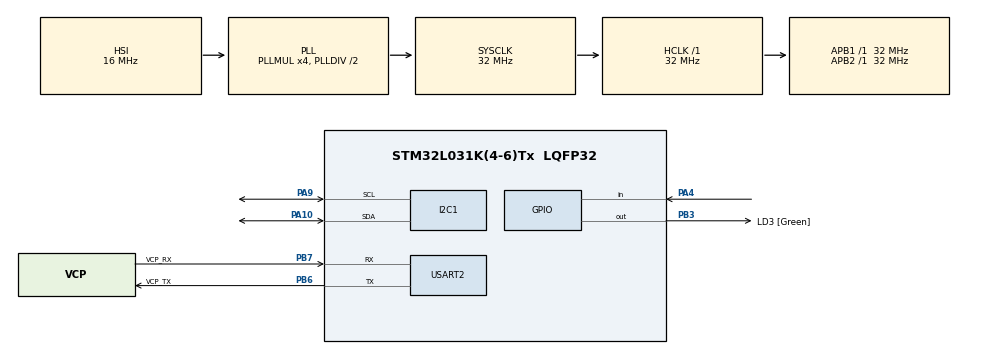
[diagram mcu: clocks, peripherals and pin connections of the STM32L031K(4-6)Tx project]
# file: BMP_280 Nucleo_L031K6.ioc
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I2C1.Timing=0x00707CBB
Mcu.Family=STM32L0
Mcu.Name=STM32L031K(4-6)Tx
Mcu.Package=LQFP32
PA10.Mode=I2C
PA10.Signal=I2C1_SDA
PA13.GPIO_Label=TMS
PA13.Mode=Serial_Wire
PA13.Signal=SYS_SWDIO
PA14.GPIO_Label=TCK
PA14.Mode=Serial_Wire
PA14.Signal=SYS_SWCLK
PA4.GPIO_PuPd=GPIO_PULLUP
PA4.Signal=GPIO_Input
PA9.Mode=I2C
PA9.Signal=I2C1_SCL
PB3.GPIO_Label=LD3 [Green]
PB3.Signal=GPIO_Output
PB6.GPIO_Label=VCP_TX
PB6.Mode=Asynchronous
PB6.Signal=USART2_TX
PB7.GPIO_Label=VCP_RX
PB7.Mode=Asynchronous
PB7.Signal=USART2_RX
PC14-OSC32_IN.Mode=LSE-External-Oscillator
PC14-OSC32_IN.Signal=RCC_OSC32_IN
PC15-OSC32_OUT.Mode=LSE-External-Oscillator
PC15-OSC32_OUT.Signal=RCC_OSC32_OUT
ProjectManager.HeapSize=0x200
ProjectManager.StackSize=0x400
ProjectManager.TargetToolchain=EWARM V8
RCC.AHBFreq_Value=32000000
RCC.APB1Freq_Value=32000000
RCC.APB1TimFreq_Value=32000000
RCC.APB2Freq_Value=32000000
RCC.APB2TimFreq_Value=32000000
RCC.HCLKFreq_Value=32000000
RCC.HSE_VALUE=8000000
RCC.HSI16_VALUE=16000000
RCC.HSI48_VALUE=48000000
RCC.HSI_VALUE=16000000
RCC.MSI_VALUE=2097000
RCC.PLLMUL=RCC_PLLMUL_4
RCC.SYSCLKFreq_VALUE=32000000
RCC.SYSCLKSource=RCC_SYSCLKSOURCE_PLLCLK
RCC.VCOOutputFreq_Value=64000000
USART2.VirtualMode-Asynchronous=VM_ASYNC
board=NUCLEO-L031K6

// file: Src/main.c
/* USER CODE BEGIN Header */
/**
 ******************************************************************************
 * @file           : main.c
 * @brief          : Main program body
 ******************************************************************************
 * @attention
 *
 * <h2><center>&copy; Copyright (c) 2020 STMicroelectronics.
 * All rights reserved.</center></h2>
 *
 * This software component is licensed by ST under BSD 3-Clause license,
 * the "License"; You may not use this file except in compliance with the
 * License. You may obtain a copy of the License at:
 *                        opensource.org/licenses/BSD-3-Clause
 *
 ******************************************************************************
 */
/* USER CODE END Header */

#include "main.h"

/* USER CODE BEGIN Includes */
#include "bmp280.h"
/* USER CODE END Includes */

/* USER CODE BEGIN PTD */
#define MEASURMENTS_NUM 50
#define NUM_OF_FLASH_CELLS 4096
#include <string.h>
#include <stdio.h>
/* USER CODE END PTD */

I2C_HandleTypeDef hi2c1;

UART_HandleTypeDef huart2;

BMP280_HandleTypedef bmp280;

/* USER CODE BEGIN PV */
float pressure, temperature, humidity;

uint32_t data_to_flash;
uint8_t data_to_uart[128];
uint16_t size_to_uart;
float altitude_0 = 0;
float altitude_above_ground = 0;
float altitude_above_ground_prev = 0;
float altitude_t = 0;
float altitude_current = 0;
float altitude_to_flash = 0;
uint8_t flash_step = 4; // 4 bytes for measurment

char *status = "";
/* USER CODE END PV */

void SystemClock_Config(void);
static void MX_GPIO_Init(void);
static void MX_USART2_UART_Init(void);
static void MX_I2C1_Init(void);
/* USER CODE BEGIN PFP */

bool SaveFlashData(uint32_t dest, uint32_t *pSrc, uint16_t size) {
	while (HAL_FLASH_Unlock() != HAL_OK) {
	}

	uint32_t *pDest = (uint32_t *)dest;
	uint32_t *pDestEnd = pDest + size;
	uint32_t pageToBeErase = (uint32_t)pDest & ~(FLASH_PAGE_SIZE - 1);
	while (pDest < pDestEnd) {
		if (FLASH_WaitForLastOperation(FLASH_TIMEOUT_VALUE * 2) != HAL_OK) {
			break;
		}

		if (pageToBeErase == (uint32_t)pDest) {
			int cmpSize = (pDestEnd - pDest) * sizeof(uint32_t);
			if (cmpSize > FLASH_PAGE_SIZE) {
				cmpSize = FLASH_PAGE_SIZE;
			}
			bool pageIsEqual = memcmp(pDest, pSrc, cmpSize) == 0;
			if (pageIsEqual) {
				pDest += FLASH_PAGE_SIZE / sizeof(uint32_t);
				pSrc += FLASH_PAGE_SIZE / sizeof(uint32_t);
				pageToBeErase = (uint32_t)pDest & ~(FLASH_PAGE_SIZE - 1);
				continue;
			} else {
				SET_BIT(FLASH->PECR, FLASH_PECR_ERASE); /* Set the ERASE bit */
				SET_BIT(FLASH->PECR, FLASH_PECR_PROG);	/* Set PROG bit */

				*(__IO uint32_t *)(uint32_t)pageToBeErase = 0x00000000; /* Write 00000000h to the first word of the program page to erase */
				if (FLASH_WaitForLastOperation(FLASH_TIMEOUT_VALUE * 2) != HAL_OK) {
					break;
				}
				CLEAR_BIT(FLASH->PECR, FLASH_PECR_PROG);
				CLEAR_BIT(FLASH->PECR, FLASH_PECR_ERASE);
				pageToBeErase = ((uint32_t)pDest & ~(FLASH_PAGE_SIZE - 1)) + FLASH_PAGE_SIZE;
			}
		}
		*(__IO uint32_t *)pDest = *pSrc;
		pDest++;
		pSrc++;
	}

	// timeout = SysTickCount;
	/*while (HAL_FLASH_Lock() != HAL_OK) {
		if (PeriodInRange(timeout, SYSTICK_mS(2))) {
			return false;
		}
	}*/
	return true;
}

/* USER CODE END PFP */

int main(void) {

	/* MCU Configuration--------------------------------------------------------*/

	/* Reset of all peripherals, Initializes the Flash interface and the Systick. */
	HAL_Init();

	/* Configure the system clock */
	SystemClock_Config();

	/* Initialize all configured peripherals */
	MX_GPIO_Init();
	MX_USART2_UART_Init();
	MX_I2C1_Init();
	/* USER CODE BEGIN 2 */
	int i = 0;
	GPIO_PinState currentButtonState;
	while (i < 50) {
		currentButtonState = HAL_GPIO_ReadPin(GPIOA, GPIO_PIN_4);
		if (currentButtonState == GPIO_PIN_RESET) {
			break;
		}
		HAL_Delay(100);
		i++;
	}

	// MAIN CONDITION
	if (currentButtonState == GPIO_PIN_RESET) {
		status = "measurment";
		bmp280_init_user_params(&bmp280.params);
		bmp280.addr = BMP280_I2C_ADDRESS_0;
		bmp280.i2c = &hi2c1;

		while (!bmp280_init(&bmp280, &bmp280.params)) {
			HAL_Delay(2000);
		}
		HAL_GPIO_WritePin(LD3_GPIO_Port, LD3_Pin, GPIO_PIN_SET);
		HAL_Delay(1000);
		HAL_GPIO_WritePin(LD3_GPIO_Port, LD3_Pin, GPIO_PIN_RESET);
		HAL_Delay(500);
		HAL_GPIO_WritePin(LD3_GPIO_Port, LD3_Pin, GPIO_PIN_SET);
		HAL_Delay(1000);
		HAL_GPIO_WritePin(LD3_GPIO_Port, LD3_Pin, GPIO_PIN_RESET);
		// bool bme280p = bmp280.id == BME280_CHIP_ID;

		// findind null altitude
		HAL_Delay(100);
		i = 0;
		while (i < MEASURMENTS_NUM) {
			while (!bmp280_read_float(&bmp280, &temperature, &pressure, &humidity)) {
				HAL_Delay(2000);
			}
			altitude_t += calculate_altitude(temperature, pressure);
			i++;
			HAL_Delay(100);
		}
		altitude_0 = altitude_t / MEASURMENTS_NUM;

		i = 0;
		int j = 1;
		HAL_GPIO_WritePin(LD3_GPIO_Port, LD3_Pin, GPIO_PIN_SET);
		HAL_Delay(1000);
		HAL_GPIO_WritePin(LD3_GPIO_Port, LD3_Pin, GPIO_PIN_RESET);
		HAL_Delay(500);
		HAL_GPIO_WritePin(LD3_GPIO_Port, LD3_Pin, GPIO_PIN_SET);
		HAL_Delay(1000);
		HAL_GPIO_WritePin(LD3_GPIO_Port, LD3_Pin, GPIO_PIN_RESET);

		while (i < NUM_OF_FLASH_CELLS) {            //main measurments to FLASH
			HAL_Delay(99);
			while (!bmp280_read_float(&bmp280, &temperature, &pressure, &humidity)) {
				HAL_Delay(2000);
			}                                                                                   //calculating altitude
			altitude_above_ground = calculate_altitude(temperature, pressure);
			int16_t val = (int)((altitude_above_ground - altitude_0) * 100);

			bool isOddIter = (i & 0x0001) != 0;
			if (isOddIter) {
				data_to_flash = data_to_flash + ((val << 16) & 0xFFFF0000);
				SaveFlashData(0x08006000 + ((i - j) * sizeof(uint32_t)), &data_to_flash, 1);
				j++;                                                                                //save altitude data to flash
				HAL_Delay(2);
			} else {
				data_to_flash = val & 0x0000FFFF;
			}
			i++;
		}
	} else {
		status = "transmiting to UART";
		HAL_GPIO_WritePin(LD3_GPIO_Port, LD3_Pin, GPIO_PIN_SET);
		i = 0;
		while (i < NUM_OF_FLASH_CELLS) {
			data_to_flash = *(__IO uint32_t *)(0x08006000 + (i * sizeof(uint32_t)));
			int16_t val0 = (int16_t)(data_to_flash & 0x0000FFFF);
			int16_t val1 = (int16_t)((data_to_flash >> 16) & 0x0000FFFF);

			size_to_uart = sprintf((char *)data_to_uart, "%05d  %06d  %06d \n", i, val0, val1);
			HAL_UART_Transmit(&huart2, data_to_uart, size_to_uart, 100);
			HAL_Delay(100);
			i++;
		}
	}

	/* USER CODE END 2 */

	/* Infinite loop */
	/* USER CODE BEGIN WHILE */
	while (1) {
		HAL_GPIO_WritePin(LD3_GPIO_Port, LD3_Pin, GPIO_PIN_SET);
		HAL_Delay(500);                                                           //after transmit or measurment start blink
		HAL_GPIO_WritePin(LD3_GPIO_Port, LD3_Pin, GPIO_PIN_RESET);
		HAL_Delay(1000);
		/* USER CODE END WHILE */

	}
}

void SystemClock_Config(void) {
	RCC_OscInitTypeDef RCC_OscInitStruct = {0};
	RCC_ClkInitTypeDef RCC_ClkInitStruct = {0};
	RCC_PeriphCLKInitTypeDef PeriphClkInit = {0};

	/** Configure the main internal regulator output voltage
	 */
	__HAL_PWR_VOLTAGESCALING_CONFIG(PWR_REGULATOR_VOLTAGE_SCALE1);
	/** Initializes the CPU, AHB and APB busses clocks
	 */
	RCC_OscInitStruct.OscillatorType = RCC_OSCILLATORTYPE_HSI;
	RCC_OscInitStruct.HSIState = RCC_HSI_ON;
	RCC_OscInitStruct.HSICalibrationValue = RCC_HSICALIBRATION_DEFAULT;
	RCC_OscInitStruct.PLL.PLLState = RCC_PLL_ON;
	RCC_OscInitStruct.PLL.PLLSource = RCC_PLLSOURCE_HSI;
	RCC_OscInitStruct.PLL.PLLMUL = RCC_PLLMUL_4;
	RCC_OscInitStruct.PLL.PLLDIV = RCC_PLLDIV_2;
	if (HAL_RCC_OscConfig(&RCC_OscInitStruct) != HAL_OK) {
		Error_Handler();
	}
	/** Initializes the CPU, AHB and APB busses clocks
	 */
	RCC_ClkInitStruct.ClockType = RCC_CLOCKTYPE_HCLK | RCC_CLOCKTYPE_SYSCLK | RCC_CLOCKTYPE_PCLK1 | RCC_CLOCKTYPE_PCLK2;
	RCC_ClkInitStruct.SYSCLKSource = RCC_SYSCLKSOURCE_PLLCLK;
	RCC_ClkInitStruct.AHBCLKDivider = RCC_SYSCLK_DIV1;
	RCC_ClkInitStruct.APB1CLKDivider = RCC_HCLK_DIV1;
	RCC_ClkInitStruct.APB2CLKDivider = RCC_HCLK_DIV1;

	if (HAL_RCC_ClockConfig(&RCC_ClkInitStruct, FLASH_LATENCY_1) != HAL_OK) {
		Error_Handler();
	}
	PeriphClkInit.PeriphClockSelection = RCC_PERIPHCLK_USART2 | RCC_PERIPHCLK_I2C1;
	PeriphClkInit.Usart2ClockSelection = RCC_USART2CLKSOURCE_PCLK1;
	PeriphClkInit.I2c1ClockSelection = RCC_I2C1CLKSOURCE_PCLK1;
	if (HAL_RCCEx_PeriphCLKConfig(&PeriphClkInit) != HAL_OK) {
		Error_Handler();
	}
}

static void MX_I2C1_Init(void) {

	hi2c1.Instance = I2C1;
	hi2c1.Init.Timing = 0x00707CBB;
	hi2c1.Init.OwnAddress1 = 0;
	hi2c1.Init.AddressingMode = I2C_ADDRESSINGMODE_7BIT;
	hi2c1.Init.DualAddressMode = I2C_DUALADDRESS_DISABLE;
	hi2c1.Init.OwnAddress2 = 0;
	hi2c1.Init.OwnAddress2Masks = I2C_OA2_NOMASK;
	hi2c1.Init.GeneralCallMode = I2C_GENERALCALL_DISABLE;
	hi2c1.Init.NoStretchMode = I2C_NOSTRETCH_DISABLE;
	if (HAL_I2C_Init(&hi2c1) != HAL_OK) {
		Error_Handler();
	}
	/** Configure Analogue filter
	 */
	if (HAL_I2CEx_ConfigAnalogFilter(&hi2c1, I2C_ANALOGFILTER_ENABLE) != HAL_OK) {
		Error_Handler();
	}
	/** Configure Digital filter
	 */
	if (HAL_I2CEx_ConfigDigitalFilter(&hi2c1, 0) != HAL_OK) {
		Error_Handler();
	}
}

static void MX_USART2_UART_Init(void) {

	huart2.Instance = USART2;
	huart2.Init.BaudRate = 115200;
	huart2.Init.WordLength = UART_WORDLENGTH_8B;
	huart2.Init.StopBits = UART_STOPBITS_1;
	huart2.Init.Parity = UART_PARITY_NONE;
	huart2.Init.Mode = UART_MODE_TX_RX;
	huart2.Init.HwFlowCtl = UART_HWCONTROL_NONE;
	huart2.Init.OverSampling = UART_OVERSAMPLING_16;
	huart2.Init.OneBitSampling = UART_ONE_BIT_SAMPLE_DISABLE;
	huart2.AdvancedInit.AdvFeatureInit = UART_ADVFEATURE_NO_INIT;
	if (HAL_UART_Init(&huart2) != HAL_OK) {
		Error_Handler();
	}
}

static void MX_GPIO_Init(void) {
	GPIO_InitTypeDef GPIO_InitStruct = {0};

	/* GPIO Ports Clock Enable */
	__HAL_RCC_GPIOC_CLK_ENABLE();
	__HAL_RCC_GPIOA_CLK_ENABLE();
	__HAL_RCC_GPIOB_CLK_ENABLE();

	/*Configure GPIO pin Output Level */
	HAL_GPIO_WritePin(LD3_GPIO_Port, LD3_Pin, GPIO_PIN_RESET);

	/*Configure GPIO pin : PA4 */
	GPIO_InitStruct.Pin = GPIO_PIN_4;
	GPIO_InitStruct.Mode = GPIO_MODE_INPUT;
	GPIO_InitStruct.Pull = GPIO_PULLUP;
	HAL_GPIO_Init(GPIOA, &GPIO_InitStruct);

	/*Configure GPIO pin : LD3_Pin */
	GPIO_InitStruct.Pin = LD3_Pin;
	GPIO_InitStruct.Mode = GPIO_MODE_OUTPUT_PP;
	GPIO_InitStruct.Pull = GPIO_NOPULL;
	GPIO_InitStruct.Speed = GPIO_SPEED_FREQ_LOW;
	HAL_GPIO_Init(LD3_GPIO_Port, &GPIO_InitStruct);
}

void Error_Handler(void) {
}

/************************ (C) COPYRIGHT STMicroelectronics *****END OF FILE****/
